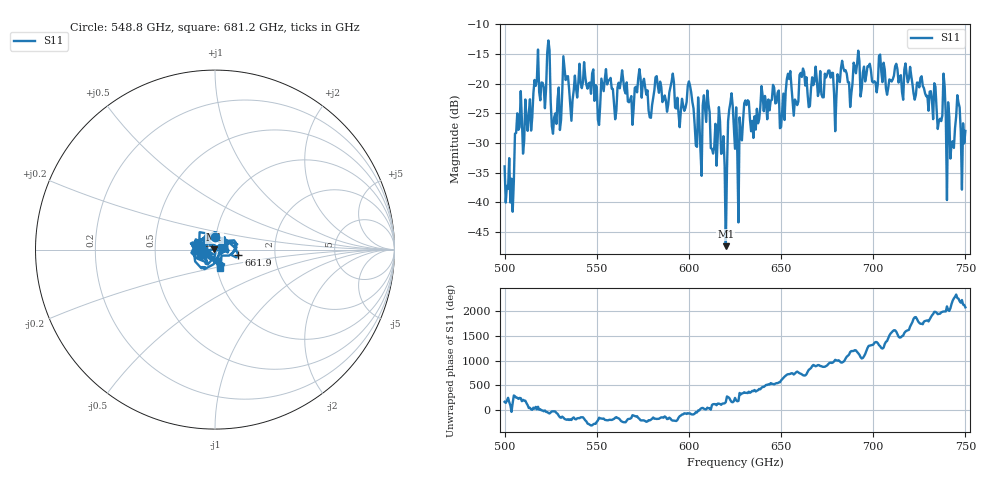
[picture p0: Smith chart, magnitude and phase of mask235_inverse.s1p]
!Created with skrf (http://scikit-rf.org).
# GHz S MA R 50.0
!freq magS11 angS11
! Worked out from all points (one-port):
!   401 points, 500 GHz to 750 GHz, reference 50 ohm
!   lowest |S11| = -47.4 dB at 620 GHz (marker M1), VSWR 1.01, Z = 49.6 + j0.118 ohm
!   |S11| at or under -10 dB: start of sweep to end of sweep
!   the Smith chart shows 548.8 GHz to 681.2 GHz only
!   S11 on the Smith chart (normalised r, x): 548.8 GHz: 0.99, +0.14; 661.9 GHz: 1.30, -0.08; 681.2 GHz: 1.04, -0.22
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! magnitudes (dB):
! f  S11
! 500 GHz  -33.9
! 503.8 GHz  -36.0
! 507.5 GHz  -27.8
! 513.8 GHz  -22.6
! 516.9 GHz  -20.4
! 523.8 GHz  -12.7
! 526.9 GHz  -25.7
! 531.2 GHz  -21.5
! 548.8 GHz  -22.9
! 562.5 GHz  -20.8
! 593.8 GHz  -22.4
! 600.6 GHz  -20.4
! 605.6 GHz  -26.2
! 609.4 GHz  -26.5
! 620 GHz  -47.4
! 622.5 GHz  -23.2
! 625 GHz  -31.0
! 627.5 GHz  -25.7
! 631.2 GHz  -23.6
! 656.2 GHz  -22.9
! 661.9 GHz  -17.5
! 681.2 GHz  -19.4
! 687.5 GHz  -23.9
! 718.8 GHz  -19.8
! 738.1 GHz  -18.3
! 741.2 GHz  -25.6
! 745.6 GHz  -22.0
! 750 GHz  -28.0
